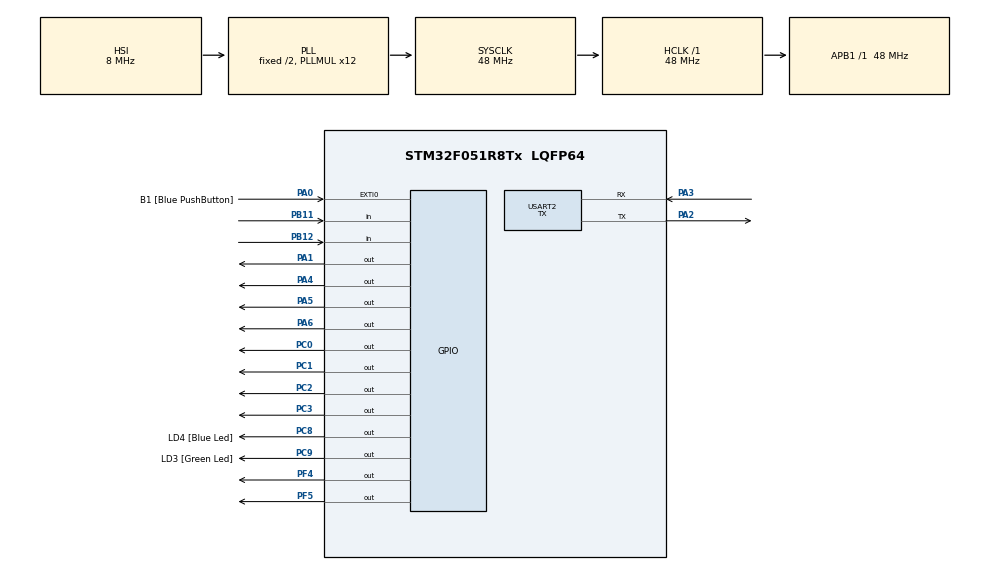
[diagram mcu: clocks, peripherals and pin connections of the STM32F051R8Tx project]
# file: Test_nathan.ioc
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Mcu.Family=STM32F0
Mcu.Name=STM32F051R8Tx
Mcu.Package=LQFP64
PA0.GPIO_Label=B1 [Blue PushButton]
PA0.GPIO_ModeDefaultEXTI=GPIO_MODE_EVT_RISING
PA0.Signal=GPXTI0
PA1.Signal=GPIO_Output
PA13.GPIO_Label=SWDIO
PA13.Mode=Serial_Wire
PA13.Signal=SYS_SWDIO
PA14.GPIO_Label=SWCLK
PA14.Mode=Serial_Wire
PA14.Signal=SYS_SWCLK
PA2.Mode=Asynchronous
PA2.Signal=USART2_TX
PA3.Mode=Asynchronous
PA3.Signal=USART2_RX
PA4.Signal=GPIO_Output
PA5.Signal=GPIO_Output
PA6.Signal=GPIO_Output
PB11.Signal=GPIO_Input
PB12.Signal=GPIO_Input
PC0.Signal=GPIO_Output
PC1.Signal=GPIO_Output
PC2.Signal=GPIO_Output
PC3.Signal=GPIO_Output
PC8.GPIO_Label=LD4 [Blue Led]
PC8.Signal=GPIO_Output
PC9.GPIO_Label=LD3 [Green Led]
PC9.Signal=GPIO_Output
PF4.Signal=GPIO_Output
PF5.Signal=GPIO_Output
ProjectManager.HeapSize=0x200
ProjectManager.StackSize=0x400
ProjectManager.TargetToolchain=STM32CubeIDE
RCC.AHBFreq_Value=48000000
RCC.APB1Freq_Value=48000000
RCC.APB1TimFreq_Value=48000000
RCC.HCLKFreq_Value=48000000
RCC.PLLMUL=RCC_PLL_MUL12
RCC.SYSCLKFreq_VALUE=48000000
RCC.SYSCLKSource=RCC_SYSCLKSOURCE_PLLCLK
USART2.Mode=MODE_TX
USART2.TxPinLevelInvertParam=ADVFEATURE_TXINV_DISABLE
USART2.VirtualMode-Asynchronous=VM_ASYNC
board=STM32F0DISCOVERY

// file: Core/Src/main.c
/* USER CODE BEGIN Header */
/**
  ******************************************************************************
  * @file           : main.c
  * @brief          : Main program body
  ******************************************************************************
  * @attention
  *
  * <h2><center>&copy; Copyright (c) 2020 STMicroelectronics.
  * All rights reserved.</center></h2>
  *
  * This software component is licensed by ST under BSD 3-Clause license,
  * the "License"; You may not use this file except in compliance with the
  * License. You may obtain a copy of the License at:
  *                        opensource.org/licenses/BSD-3-Clause
  *
  ******************************************************************************
  */
/* USER CODE END Header */

#include "main.h"

UART_HandleTypeDef huart2;

void SystemClock_Config(void);
static void MX_GPIO_Init(void);
static void MX_USART2_UART_Init(void);

int main(void)
{

  /* MCU Configuration--------------------------------------------------------*/

  /* Reset of all peripherals, Initializes the Flash interface and the Systick. */
  HAL_Init();

  /* Configure the system clock */
  SystemClock_Config();

  /* Initialize all configured peripherals */
  MX_GPIO_Init();
  MX_USART2_UART_Init();

  /* Infinite loop */
  /* USER CODE BEGIN WHILE */

  while (1)
  {
	  uint32_t left_switch = HAL_GPIO_ReadPin(GPIOB, GPIO_PIN_11);
	  uint32_t right_switch = HAL_GPIO_ReadPin(GPIOB, GPIO_PIN_12);
	  uint8_t x ;
	  if (left_switch)
	  {
	   x = 1;
	  }
	  else if(right_switch)
	  {
	   x = 2;
	  }
	  else
	  {
	    x = 3;
	  }
      HAL_UART_Transmit  (&huart2,  &x,  1U,  0xFFFF);

      if (x == 1) // This is for Left indicator!!!!!!!!!!!!!
      {
    	  HAL_GPIO_WritePin(GPIOA, GPIO_PIN_1,GPIO_PIN_RESET);
  		  HAL_GPIO_WritePin(GPIOF, GPIO_PIN_4,GPIO_PIN_SET);
    	  HAL_Delay(20);
      }
      else if (x == 2)
      {
    	  HAL_GPIO_WritePin(GPIOA, GPIO_PIN_1,GPIO_PIN_SET);
  		  HAL_GPIO_WritePin(GPIOF, GPIO_PIN_4,GPIO_PIN_RESET);
  		  HAL_Delay(20);
      }
      else if (x == 3)
      	  {
      		  HAL_GPIO_WritePin(GPIOA, GPIO_PIN_1,GPIO_PIN_SET);
      		  HAL_GPIO_WritePin(GPIOF, GPIO_PIN_4,GPIO_PIN_SET);
      	  }

	      {
    /* USER CODE END WHILE */

    /* USER CODE BEGIN 3 */
	      }

    /* USER CODE END WHILE */

    /* USER CODE BEGIN 3 */
  }
  /* USER CODE END 3 */
}

void SystemClock_Config(void)
{
  RCC_OscInitTypeDef RCC_OscInitStruct = {0};
  RCC_ClkInitTypeDef RCC_ClkInitStruct = {0};

  /** Initializes the CPU, AHB and APB busses clocks
  */
  RCC_OscInitStruct.OscillatorType = RCC_OSCILLATORTYPE_HSI;
  RCC_OscInitStruct.HSIState = RCC_HSI_ON;
  RCC_OscInitStruct.HSICalibrationValue = RCC_HSICALIBRATION_DEFAULT;
  RCC_OscInitStruct.PLL.PLLState = RCC_PLL_ON;
  RCC_OscInitStruct.PLL.PLLSource = RCC_PLLSOURCE_HSI;
  RCC_OscInitStruct.PLL.PLLMUL = RCC_PLL_MUL12;
  RCC_OscInitStruct.PLL.PREDIV = RCC_PREDIV_DIV1;
  if (HAL_RCC_OscConfig(&RCC_OscInitStruct) != HAL_OK)
  {
    Error_Handler();
  }
  /** Initializes the CPU, AHB and APB busses clocks
  */
  RCC_ClkInitStruct.ClockType = RCC_CLOCKTYPE_HCLK|RCC_CLOCKTYPE_SYSCLK
                              |RCC_CLOCKTYPE_PCLK1;
  RCC_ClkInitStruct.SYSCLKSource = RCC_SYSCLKSOURCE_PLLCLK;
  RCC_ClkInitStruct.AHBCLKDivider = RCC_SYSCLK_DIV1;
  RCC_ClkInitStruct.APB1CLKDivider = RCC_HCLK_DIV1;

  if (HAL_RCC_ClockConfig(&RCC_ClkInitStruct, FLASH_LATENCY_1) != HAL_OK)
  {
    Error_Handler();
  }
}

static void MX_USART2_UART_Init(void)
{

  huart2.Instance = USART2;
  huart2.Init.BaudRate = 38400;
  huart2.Init.WordLength = UART_WORDLENGTH_8B;
  huart2.Init.StopBits = UART_STOPBITS_1;
  huart2.Init.Parity = UART_PARITY_NONE;
  huart2.Init.Mode = UART_MODE_TX;
  huart2.Init.HwFlowCtl = UART_HWCONTROL_NONE;
  huart2.Init.OverSampling = UART_OVERSAMPLING_16;
  huart2.Init.OneBitSampling = UART_ONE_BIT_SAMPLE_DISABLE;
  huart2.AdvancedInit.AdvFeatureInit = UART_ADVFEATURE_NO_INIT;
  if (HAL_UART_Init(&huart2) != HAL_OK)
  {
    Error_Handler();
  }

}

static void MX_GPIO_Init(void)
{
  GPIO_InitTypeDef GPIO_InitStruct = {0};

  /* GPIO Ports Clock Enable */
  __HAL_RCC_GPIOC_CLK_ENABLE();
  __HAL_RCC_GPIOA_CLK_ENABLE();
  __HAL_RCC_GPIOF_CLK_ENABLE();
  __HAL_RCC_GPIOB_CLK_ENABLE();

  /*Configure GPIO pin Output Level */
  HAL_GPIO_WritePin(GPIOC, GPIO_PIN_0|GPIO_PIN_1|GPIO_PIN_2|GPIO_PIN_3
                          |LD4_Pin|LD3_Pin, GPIO_PIN_RESET);

  /*Configure GPIO pin Output Level */
  HAL_GPIO_WritePin(GPIOA, GPIO_PIN_1|GPIO_PIN_4|GPIO_PIN_5|GPIO_PIN_6, GPIO_PIN_RESET);

  /*Configure GPIO pin Output Level */
  HAL_GPIO_WritePin(GPIOF, GPIO_PIN_4|GPIO_PIN_5, GPIO_PIN_RESET);

  /*Configure GPIO pins : PC0 PC1 PC2 PC3
                           LD4_Pin LD3_Pin */
  GPIO_InitStruct.Pin = GPIO_PIN_0|GPIO_PIN_1|GPIO_PIN_2|GPIO_PIN_3
                          |LD4_Pin|LD3_Pin;
  GPIO_InitStruct.Mode = GPIO_MODE_OUTPUT_PP;
  GPIO_InitStruct.Pull = GPIO_NOPULL;
  GPIO_InitStruct.Speed = GPIO_SPEED_FREQ_LOW;
  HAL_GPIO_Init(GPIOC, &GPIO_InitStruct);

  /*Configure GPIO pin : B1_Pin */
  GPIO_InitStruct.Pin = B1_Pin;
  GPIO_InitStruct.Mode = GPIO_MODE_EVT_RISING;
  GPIO_InitStruct.Pull = GPIO_NOPULL;
  HAL_GPIO_Init(B1_GPIO_Port, &GPIO_InitStruct);

  /*Configure GPIO pins : PA1 PA4 PA5 PA6 */
  GPIO_InitStruct.Pin = GPIO_PIN_1|GPIO_PIN_4|GPIO_PIN_5|GPIO_PIN_6;
  GPIO_InitStruct.Mode = GPIO_MODE_OUTPUT_PP;
  GPIO_InitStruct.Pull = GPIO_NOPULL;
  GPIO_InitStruct.Speed = GPIO_SPEED_FREQ_LOW;
  HAL_GPIO_Init(GPIOA, &GPIO_InitStruct);

  /*Configure GPIO pins : PF4 PF5 */
  GPIO_InitStruct.Pin = GPIO_PIN_4|GPIO_PIN_5;
  GPIO_InitStruct.Mode = GPIO_MODE_OUTPUT_PP;
  GPIO_InitStruct.Pull = GPIO_NOPULL;
  GPIO_InitStruct.Speed = GPIO_SPEED_FREQ_LOW;
  HAL_GPIO_Init(GPIOF, &GPIO_InitStruct);

  /*Configure GPIO pins : PB11 PB12 */
  GPIO_InitStruct.Pin = GPIO_PIN_11|GPIO_PIN_12;
  GPIO_InitStruct.Mode = GPIO_MODE_INPUT;
  GPIO_InitStruct.Pull = GPIO_NOPULL;
  HAL_GPIO_Init(GPIOB, &GPIO_InitStruct);

}

void Error_Handler(void)
{
}

/************************ (C) COPYRIGHT STMicroelectronics *****END OF FILE****/
